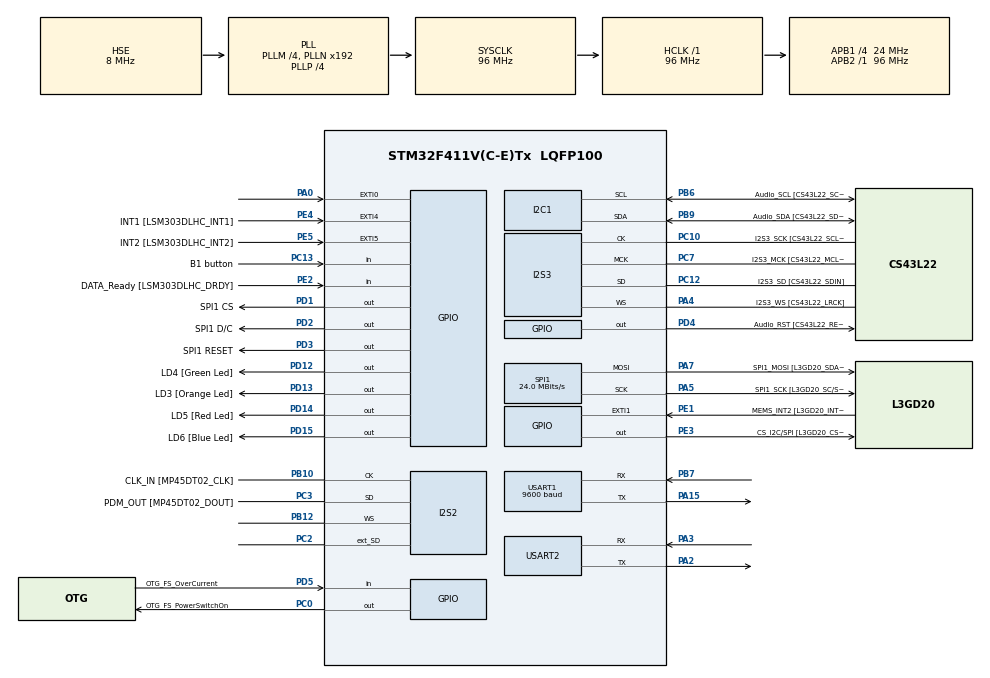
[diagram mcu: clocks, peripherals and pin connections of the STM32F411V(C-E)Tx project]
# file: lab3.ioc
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Dma.Request0=USART1_RX
Dma.Request1=USART2_RX
Dma.Request2=USART2_TX
Dma.Request3=SPI1_TX
Dma.SPI1_TX.3.Direction=DMA_MEMORY_TO_PERIPH
Dma.SPI1_TX.3.FIFOMode=DMA_FIFOMODE_DISABLE
Dma.SPI1_TX.3.Instance=DMA2_Stream3
Dma.SPI1_TX.3.MemDataAlignment=DMA_MDATAALIGN_BYTE
Dma.SPI1_TX.3.MemInc=DMA_MINC_ENABLE
Dma.SPI1_TX.3.Mode=DMA_NORMAL
Dma.SPI1_TX.3.PeriphDataAlignment=DMA_PDATAALIGN_BYTE
Dma.SPI1_TX.3.PeriphInc=DMA_PINC_DISABLE
Dma.SPI1_TX.3.Priority=DMA_PRIORITY_LOW
Dma.USART1_RX.0.Direction=DMA_PERIPH_TO_MEMORY
Dma.USART1_RX.0.FIFOMode=DMA_FIFOMODE_DISABLE
Dma.USART1_RX.0.Instance=DMA2_Stream5
Dma.USART1_RX.0.MemDataAlignment=DMA_MDATAALIGN_BYTE
Dma.USART1_RX.0.MemInc=DMA_MINC_ENABLE
Dma.USART1_RX.0.Mode=DMA_CIRCULAR
Dma.USART1_RX.0.PeriphDataAlignment=DMA_PDATAALIGN_BYTE
Dma.USART1_RX.0.PeriphInc=DMA_PINC_DISABLE
Dma.USART1_RX.0.Priority=DMA_PRIORITY_LOW
Dma.USART2_RX.1.Direction=DMA_PERIPH_TO_MEMORY
Dma.USART2_RX.1.FIFOMode=DMA_FIFOMODE_DISABLE
Dma.USART2_RX.1.Instance=DMA1_Stream5
Dma.USART2_RX.1.MemDataAlignment=DMA_MDATAALIGN_BYTE
Dma.USART2_RX.1.MemInc=DMA_MINC_ENABLE
Dma.USART2_RX.1.Mode=DMA_CIRCULAR
Dma.USART2_RX.1.PeriphDataAlignment=DMA_PDATAALIGN_BYTE
Dma.USART2_RX.1.PeriphInc=DMA_PINC_DISABLE
Dma.USART2_RX.1.Priority=DMA_PRIORITY_LOW
Dma.USART2_TX.2.Direction=DMA_MEMORY_TO_PERIPH
Dma.USART2_TX.2.FIFOMode=DMA_FIFOMODE_DISABLE
Dma.USART2_TX.2.Instance=DMA1_Stream6
Dma.USART2_TX.2.MemDataAlignment=DMA_MDATAALIGN_BYTE
Dma.USART2_TX.2.MemInc=DMA_MINC_ENABLE
Dma.USART2_TX.2.Mode=DMA_NORMAL
Dma.USART2_TX.2.PeriphDataAlignment=DMA_PDATAALIGN_BYTE
Dma.USART2_TX.2.PeriphInc=DMA_PINC_DISABLE
Dma.USART2_TX.2.Priority=DMA_PRIORITY_LOW
I2S2.AudioFreq=I2S_AUDIOFREQ_96K
I2S2.ErrorAudioFreq=0.15 %
I2S2.FullDuplexMode=I2S_FULLDUPLEXMODE_ENABLE
I2S2.Instance=SPI$Index
I2S2.RealAudioFreq=96.153 KHz
I2S2.VirtualMode=I2S_MODE_MASTER
I2S3.AudioFreq=I2S_AUDIOFREQ_96K
I2S3.ErrorAudioFreq=-6.99 %
I2S3.FullDuplexMode=I2S_FULLDUPLEXMODE_DISABLE
I2S3.Instance=SPI$Index
I2S3.RealAudioFreq=89.285 KHz
I2S3.VirtualMode=I2S_MODE_MASTER
Mcu.Family=STM32F4
Mcu.Name=STM32F411V(C-E)Tx
Mcu.Package=LQFP100
NVIC.DMA1_Stream5_IRQn=true\:0\:0\:false\:false\:true\:false\:true\:true
NVIC.DMA1_Stream6_IRQn=true\:0\:0\:false\:false\:true\:false\:true\:true
NVIC.DMA2_Stream3_IRQn=true\:0\:0\:false\:false\:true\:false\:true\:true
NVIC.DMA2_Stream5_IRQn=true\:0\:0\:false\:false\:true\:false\:true\:true
NVIC.PriorityGroup=NVIC_PRIORITYGROUP_0
NVIC.SPI1_IRQn=true\:0\:0\:false\:false\:true\:true\:true\:true
NVIC.USART1_IRQn=true\:0\:0\:false\:false\:true\:true\:true\:true
NVIC.USART2_IRQn=true\:0\:0\:false\:false\:true\:true\:true\:true
PA0-WKUP.GPIO_ModeDefaultEXTI=GPIO_MODE_EVT_RISING
PA0-WKUP.GPIO_PuPd=GPIO_NOPULL
PA0-WKUP.Signal=GPXTI0
PA13.GPIO_Label=SWDIO
PA13.Mode=Serial_Wire
PA13.Signal=SYS_JTMS-SWDIO
PA14.GPIO_Label=SWCLK
PA14.Mode=Serial_Wire
PA14.Signal=SYS_JTCK-SWCLK
PA15.Mode=Asynchronous
PA15.Signal=USART1_TX
PA2.Mode=Asynchronous
PA2.Signal=USART2_TX
PA3.Mode=Asynchronous
PA3.Signal=USART2_RX
PA4.GPIO_Label=I2S3_WS [CS43L22_LRCK]
PA4.GPIO_Mode=GPIO_MODE_AF_PP
PA4.GPIO_PuPd=GPIO_NOPULL
PA4.GPIO_Speed=GPIO_SPEED_FREQ_LOW
PA4.Mode=Half_Duplex_Master
PA4.Signal=I2S3_WS
PA5.GPIO_Label=SPI1_SCK [L3GD20_SC/SPC]
PA5.Mode=TX_Only_Simplex_Unidirect_Master
PA5.Signal=SPI1_SCK
PA6.GPIO_Label=SPI1_MISO [L3GD20_AS0/SDO]
PA6.Signal=SPI1_MISO
PA7.GPIO_Label=SPI1_MOSI [L3GD20_SDA/SDI/SDO]
PA7.Mode=TX_Only_Simplex_Unidirect_Master
PA7.Signal=SPI1_MOSI
PB10.GPIO_Label=CLK_IN [MP45DT02_CLK]
PB10.Mode=Full_Duplex_Master
PB10.Signal=I2S2_CK
PB12.Mode=Full_Duplex_Master
PB12.Signal=I2S2_WS
PB3.GPIO_Label=SWO
PB3.Signal=SYS_JTDO-SWO
PB6.GPIO_Label=Audio_SCL [CS43L22_SCL]
PB6.GPIO_Mode=GPIO_MODE_AF_OD
PB6.GPIO_Pu=GPIO_PULLUP
PB6.GPIO_PuPd=GPIO_NOPULL
PB6.GPIO_Speed=GPIO_SPEED_FREQ_LOW
PB6.Mode=I2C
PB6.Signal=I2C1_SCL
PB7.Mode=Asynchronous
PB7.Signal=USART1_RX
PB9.GPIO_Label=Audio_SDA [CS43L22_SDA]
PB9.GPIO_Mode=GPIO_MODE_AF_OD
PB9.GPIO_Pu=GPIO_PULLUP
PB9.GPIO_PuPd=GPIO_NOPULL
PB9.GPIO_Speed=GPIO_SPEED_FREQ_LOW
PB9.Mode=I2C
PB9.Signal=I2C1_SDA
PC0.GPIO_Label=OTG_FS_PowerSwitchOn
PC0.PinState=GPIO_PIN_SET
PC0.Signal=GPIO_Output
PC10.GPIO_Label=I2S3_SCK [CS43L22_SCLK]
PC10.GPIO_Mode=GPIO_MODE_AF_PP
PC10.GPIO_PuPd=GPIO_NOPULL
PC10.GPIO_Speed=GPIO_SPEED_FREQ_LOW
PC10.Mode=Half_Duplex_Master
PC10.Signal=I2S3_CK
PC12.GPIO_Label=I2S3_SD [CS43L22_SDIN]
PC12.GPIO_Mode=GPIO_MODE_AF_PP
PC12.GPIO_PuPd=GPIO_NOPULL
PC12.GPIO_Speed=GPIO_SPEED_FREQ_LOW
PC12.Mode=Half_Duplex_Master
PC12.Signal=I2S3_SD
PC13-ANTI_TAMP.GPIO_Label=B1 button
PC13-ANTI_TAMP.GPIO_PuPd=GPIO_PULLUP
PC13-ANTI_TAMP.Signal=GPIO_Input
PC14-OSC32_IN.GPIO_Label=PC14-OSC32_IN
PC14-OSC32_IN.Signal=RCC_OSC32_IN
PC15-OSC32_OUT.GPIO_Label=PC15-OSC32_OUT
PC15-OSC32_OUT.Signal=RCC_OSC32_OUT
PC2.Mode=Full_Duplex_Master
PC2.Signal=I2S2_ext_SD
PC3.GPIO_Label=PDM_OUT [MP45DT02_DOUT]
PC3.Mode=Full_Duplex_Master
PC3.Signal=I2S2_SD
PC7.GPIO_Label=I2S3_MCK [CS43L22_MCLK]
PC7.GPIO_Mode=GPIO_MODE_AF_PP
PC7.GPIO_PuPd=GPIO_NOPULL
PC7.GPIO_Speed=GPIO_SPEED_FREQ_LOW
PC7.Mode=Master_Clock_Activated
PC7.Signal=I2S3_MCK
PD1.GPIO_Label=SPI1 CS
PD1.Signal=GPIO_Output
PD12.GPIO_Label=LD4 [Green Led]
PD12.GPIO_PuPd=GPIO_NOPULL
PD12.GPIO_Speed=GPIO_SPEED_FREQ_LOW
PD12.Signal=GPIO_Output
PD13.GPIO_Label=LD3 [Orange Led]
PD13.GPIO_PuPd=GPIO_NOPULL
PD13.GPIO_Speed=GPIO_SPEED_FREQ_LOW
PD13.Signal=GPIO_Output
PD14.GPIO_Label=LD5 [Red Led]
PD14.GPIO_PuPd=GPIO_NOPULL
PD14.GPIO_Speed=GPIO_SPEED_FREQ_LOW
PD14.Signal=GPIO_Output
PD15.GPIO_Label=LD6 [Blue Led]
PD15.GPIO_PuPd=GPIO_NOPULL
PD15.GPIO_Speed=GPIO_SPEED_FREQ_LOW
PD15.Signal=GPIO_Output
PD2.GPIO_Label=SPI1 D/C
PD2.Signal=GPIO_Output
PD3.GPIO_Label=SPI1 RESET
PD3.Signal=GPIO_Output
PD4.GPIO_Label=Audio_RST [CS43L22_RESET]
PD4.Signal=GPIO_Output
PD5.GPIO_Label=OTG_FS_OverCurrent
PD5.Signal=GPIO_Input
PE1.GPIO_Label=MEMS_INT2 [L3GD20_INT2]
PE1.GPIO_ModeDefaultEXTI=GPIO_MODE_EVT_RISING
PE1.Signal=GPXTI1
PE2.GPIO_Label=DATA_Ready [LSM303DLHC_DRDY]
PE2.Signal=GPIO_Input
PE3.GPIO_Label=CS_I2C/SPI [L3GD20_CS_I2C/SPI]
PE3.Signal=GPIO_Output
PE4.GPIO_Label=INT1 [LSM303DLHC_INT1]
PE4.GPIO_ModeDefaultEXTI=GPIO_MODE_EVT_RISING
PE4.Signal=GPXTI4
PE5.GPIO_Label=INT2 [LSM303DLHC_INT2]
PE5.GPIO_ModeDefaultEXTI=GPIO_MODE_EVT_RISING
PE5.Signal=GPXTI5
PH0\ -\ OSC_IN.GPIO_Label=PH0-OSC_IN
PH0\ -\ OSC_IN.Mode=HSE-External-Oscillator
PH0\ -\ OSC_IN.Signal=RCC_OSC_IN
PH1\ -\ OSC_OUT.GPIO_Label=PH1-OSC_OUT
PH1\ -\ OSC_OUT.Mode=HSE-External-Oscillator
PH1\ -\ OSC_OUT.Signal=RCC_OSC_OUT
ProjectManager.HeapSize=0x200
ProjectManager.StackSize=0x800
ProjectManager.TargetToolchain=STM32CubeIDE
RCC.48MHZClocksFreq_Value=48000000
RCC.AHBFreq_Value=96000000
RCC.APB1CLKDivider=RCC_HCLK_DIV4
RCC.APB1Freq_Value=24000000
RCC.APB1TimFreq_Value=48000000
RCC.APB2Freq_Value=96000000
RCC.APB2TimFreq_Value=96000000
RCC.CortexFreq_Value=96000000
RCC.HCLKFreq_Value=96000000
RCC.HSE_VALUE=8000000
RCC.HSI_VALUE=16000000
RCC.LSE_VALUE=32768
RCC.PLLI2SM=5
RCC.PLLI2SN=200
RCC.PLLM=4
RCC.PLLP=RCC_PLLP_DIV4
RCC.PLLQ=8
RCC.PLLSourceVirtual=RCC_PLLSOURCE_HSE
RCC.SYSCLKFreq_VALUE=96000000
RCC.SYSCLKSource=RCC_SYSCLKSOURCE_PLLCLK
RCC.VCOOutputFreq_Value=384000000
SPI1.BaudRatePrescaler=SPI_BAUDRATEPRESCALER_4
SPI1.CalculateBaudRate=24.0 MBits/s
SPI1.Direction=SPI_DIRECTION_2LINES
SPI1.Mode=SPI_MODE_MASTER
SPI1.VirtualType=VM_MASTER
USART1.BaudRate=9600
USART1.VirtualMode=VM_ASYNC
USART2.VirtualMode=VM_ASYNC
board=STM32F411E-DISCO

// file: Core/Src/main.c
/* USER CODE BEGIN Header */
/**
  ******************************************************************************
  * @file           : main.c
  * @brief          : Main program body
  ******************************************************************************
  * @attention
  *
  * Copyright (c) 2025 STMicroelectronics.
  * All rights reserved.
  *
  * This software is licensed under terms that can be found in the LICENSE file
  * in the root directory of this software component.
  * If no LICENSE file comes with this software, it is provided AS-IS.
  *
  ******************************************************************************
  */
/* USER CODE END Header */
#include "main.h"

/* USER CODE BEGIN Includes */
#include "stm32f4xx_hal.h"
#include "string.h"
#include "parserqueue.h"
#include "ILI9341.h"
#include "BME280.h"
#include <stdint.h>
#include <stdlib.h>
#include <stdbool.h>
#include <stdio.h>
#include <time.h>

/* USER CODE END Includes */

I2C_HandleTypeDef hi2c1;

I2S_HandleTypeDef hi2s2;
I2S_HandleTypeDef hi2s3;

SPI_HandleTypeDef hspi1;
DMA_HandleTypeDef hdma_spi1_tx;

UART_HandleTypeDef huart1;
UART_HandleTypeDef huart2;
DMA_HandleTypeDef hdma_usart1_rx;
DMA_HandleTypeDef hdma_usart2_rx;
DMA_HandleTypeDef hdma_usart2_tx;

void SystemClock_Config(void);
void PeriphCommonClock_Config(void);
static void MX_GPIO_Init(void);
static void MX_DMA_Init(void);
static void MX_I2C1_Init(void);
static void MX_I2S2_Init(void);
static void MX_I2S3_Init(void);
static void MX_SPI1_Init(void);
static void MX_USART1_UART_Init(void);
static void MX_USART2_UART_Init(void);

/* USER CODE BEGIN 0 */

uint8_t gps_rx_buffer[512];
uint8_t pc_rx_buffer[128];

uint8_t parser_buffer_gps[512];
uint8_t parser_buffer_pc[128];
uint8_t stats_buffer[128];

volatile parser_queue PQ;
volatile parser_queue CQ;

volatile bool tx_busy = false;
uint8_t cli_buf1[512];
uint8_t cli_buf2[512];

uint8_t *buf_1 = cli_buf1;
uint8_t *buf_2 = cli_buf2;

volatile uint16_t len_buf_1 = 0;
volatile uint16_t len_buf_2 = 0;

// statistic variables
volatile bool send_stats = false;
volatile bool send_raw_data = false;

volatile int portions_count = 0;
volatile uint16_t bytes_count = 0;
volatile uint16_t last_postion_size = 0;

volatile uint32_t fe_count = 0;   // framing error
volatile uint32_t ne_count = 0;   // noise error
volatile uint32_t ore_count = 0;  // overrun error
volatile uint32_t pe_count = 0;   // parity error

// parsed values
struct tm utc = {0};
char * lat;
char * lot;
double res_lat;
double res_lot;
char latV;
char lotV;
char status;
int fix = 0;
int satellite_num = 0;

void HAL_UARTEx_RxEventCallback(UART_HandleTypeDef *huart, uint16_t Size) {

	if (huart->Instance == USART1) {
		// statistic calculations
		portions_count++;
		bytes_count += Size;
		last_postion_size = Size;

		if (__HAL_UART_GET_FLAG(&huart1, UART_FLAG_FE)) { fe_count++; __HAL_UART_CLEAR_FEFLAG(&huart1); }
		if (__HAL_UART_GET_FLAG(&huart1, UART_FLAG_NE)) { ne_count++; __HAL_UART_CLEAR_NEFLAG(&huart1); }
		if (__HAL_UART_GET_FLAG(&huart1, UART_FLAG_ORE)){ ore_count++; __HAL_UART_CLEAR_OREFLAG(&huart1); }
		if (__HAL_UART_GET_FLAG(&huart1, UART_FLAG_PE)) { pe_count++; __HAL_UART_CLEAR_PEFLAG(&huart1); }

		// copy to parser buffer
		memcpy(parser_buffer_gps, gps_rx_buffer, Size);
		enqueue(&PQ, parser_buffer_gps, Size);
	}

	else if (huart->Instance == USART2) {
		// copy to parser buffer
		memcpy(parser_buffer_pc, pc_rx_buffer, Size);
		enqueue(&CQ, parser_buffer_pc, Size);
	}
}

void HAL_UART_TxCpltCallback(UART_HandleTypeDef *huart) {
	tx_busy = false;

	if (len_buf_2 > 0) { // buf_1 here is pointing at buf_2
		tx_busy = true;

		// swap buffers
		uint8_t *tmp = buf_1;
		buf_1= buf_2;
		buf_2 = tmp;

		len_buf_1 = len_buf_2;
		len_buf_2 = 0;

		HAL_UART_Transmit_DMA(huart, buf_1, len_buf_1);
	}
}

void send_msg_uart(uint8_t * msg, uint16_t msg_len) {
	memcpy(buf_2, msg, msg_len);
	len_buf_2 = msg_len;

	if (!tx_busy) {
		tx_busy = true;

        uint8_t *tmp = buf_1;
		buf_1 = buf_2;
		buf_2 = tmp;

		len_buf_1 = len_buf_2;
		len_buf_2 = 0;

		HAL_UART_Transmit_DMA(&huart2, buf_1, len_buf_1);
	}
}

bool calculate_checksum(uint8_t *sentence) {
	const char *start = (sentence[0] == '$') ? (const char*)(sentence + 1) : (const char*)sentence;
	const char *star = strchr(start, '*');
	size_t len = (star) ? (size_t)(star - start) : strlen(start);

	int checksum;
	int ascii_values_g[85];
	sscanf(star + 1, "%2X", &checksum);
	ascii_values_g[0] = (int)sentence[1];

	for (int i = 1; i < len; i++) {
		ascii_values_g[i] = ascii_values_g[i-1] ^ (int)sentence[i+1];
	}

	return checksum == ascii_values_g[len - 1];
}

double calculate_degrees(const char *nmea, char direction, bool is_lat) {
    double raw = atof(nmea);
    int degrees;

    if (is_lat) {
		degrees = (int)(raw / 100);
	} else {
		degrees = (int)(raw / 100);
		if (degrees < 100) {
			degrees = (int)(raw / 1000);
		}
	}

    double minutes = raw - (degrees * 100);
    double decimal = degrees + minutes / 60.0;

    if (direction == 'S' || direction == 'W') {
        decimal *= -1;
    }

    return decimal;
}

uint8_t current_portion_gps[512];
uint8_t current_portion_pc[64];
uint8_t return_msg[128];

uint8_t line_gps[128];
uint8_t line_pc[32];
void NMEA_PC_parser() {
//	uint8_t current_portion_gps[512];
//	uint8_t current_portion_pc[128];

//	uint8_t line_gps[128];
//	uint8_t line_pc[64];
//	uint8_t return_msg[128];

	uint16_t start_gps = 0;
	uint16_t start_pc = 0;
	uint16_t current_size_gps = 0;
	uint16_t current_size_pc = 0;

	dequeue(&PQ, current_portion_gps, &current_size_gps);
	dequeue(&CQ, current_portion_pc, &current_size_pc);

	for (uint16_t i = 0; i + 1 <= current_size_gps; i++) {

	    if (current_portion_gps[i] == '\r' && current_portion_gps[i+1] == '\n') {

	        if (i > start_gps) {
	        	uint16_t len = i - start_gps;
	        	if (len >= sizeof(line_gps)) len = sizeof(line_gps) - 1;
	        	memcpy(line_gps, &current_portion_gps[start_gps], len);
	        	line_gps[len] = '\0';

	        	if (line_gps[0] == '$' && current_portion_gps[i+1] == '\n') {
	        		if (calculate_checksum(line_gps)) {
	        			char *token;

	        			if (strstr((char*)line_gps, "RMC") != NULL) {

							token = strtok((char*)line_gps, ",");
							int field_index = 0;

							while (token != NULL && field_index < 7) {

								switch (field_index) {
								    case 1:
								        double UTC = atof(token);
								        int hh = (int)(UTC / 10000);
										int mm = (int)((UTC - hh * 10000) / 100);
										int ss = (int)(UTC - hh * 10000 - mm * 100);

										utc.tm_year = 2025 - 1900;  // tm_year counts from 1900
										utc.tm_mon  = 9;    // tm_mon is 0-based
										utc.tm_mday = 27;
										utc.tm_hour = hh;
										utc.tm_min  = mm;
										utc.tm_sec  = ss;

								        break;

								    case 2:
								        status = token[0];
								        break;

								    case 3:
								        lat = token;
								        break;

								    case 4:
										latV = token[0];
										break;

								    case 5:
								        lot = token;
								        break;
								    case 6:
										lotV = token[0];
										break;

								    default:
								        break;
								}

								token = strtok(NULL, ",");
								field_index++;
							}
						}

						if (strstr((char*)line_gps, "GGA") != NULL) {

							token = strtok((char*)line_gps, ",");
							int field_index = 0;

							while (token != NULL && field_index < 8) {

								switch (field_index) {
									case 6:
										fix = atoi(token);
										break;

									case 7:
										satellite_num = atoi(token);
										break;

									default:
										break;
								}

								token = strtok(NULL, ",");
								field_index++;
							}
						}
					}
	        	}
			}
			start_gps = i + 2;
			i++;
		}
	}

	for (uint16_t i = start_pc; i + 1 <= current_size_pc; i++) {

		if (current_portion_pc[i] == '\r') {
			line_pc[0] = '\0';
			return_msg[0] = '\0';

			if (i > start_pc) {
				uint16_t len = i - start_pc;
				if (len >= sizeof(line_pc)) len = sizeof(line_pc) - 1;
				memcpy(line_pc, &current_portion_pc[start_pc], len);
				line_pc[len] = '\0';

				if (strstr((char*)line_pc, "GET POS") != NULL) {
					res_lat = calculate_degrees(lat, latV, true);
					res_lot = calculate_degrees(lot, lotV, false);
					const char *status = (fix == 0) ? "stale": "";

					time_t gps_ms = (utc.tm_hour*3600 + utc.tm_min*60 + utc.tm_sec);
					time_t now_ms = HAL_GetTick();
					double age_ms = (double)(now_ms - gps_ms);

					int len = snprintf((char *) return_msg, sizeof(return_msg),
							"\r\nGET POS\r\nPOS: lat: %.4f, lon: %.4f, fix: %d, sats: %d, age_ms: %.2f, %s\r\n",
							res_lat, res_lot, fix, satellite_num, age_ms, status);

					if (len > 0) {
						send_msg_uart((uint8_t*)return_msg, len);
					}
				}

				if (strstr((char*)line_pc, "GET TIME") != NULL) {
					struct tm local = utc;
					local.tm_hour += 3;
					mktime(&local);

					char formatted_time[32];
					strftime(formatted_time, sizeof(formatted_time), "%Y-%m-%dT%H:%M:%SZ", &local);
					int len = snprintf((char *)return_msg, sizeof(return_msg), "\r\nGET TIME\r\n%s\r\n", formatted_time);

					if (len > 0) {
						send_msg_uart((uint8_t*)return_msg, len);
					}
				}
				if (strstr((char*)line_pc, "RAW OFF") != NULL) {
					send_raw_data = false;
				}

				if (strstr((char*)line_pc, "RAW ON") != NULL) {
					send_raw_data = true;
				}

				if (strstr((char*)line_pc, "STATS ON") != NULL) {
					send_stats = true;
				}

				if (strstr((char*)line_pc, "STATS OFF") != NULL) {
					send_stats = false;
				}

				if (strstr((char*)line_pc, "VER") != NULL) {
				    struct tm local = utc;
				    local.tm_hour += 3;
				    mktime(&local); // normalize the time

				    char formatted_time[32];
				    strftime(formatted_time, sizeof(formatted_time), "%Y-%m-%dT%H:%M:%SZ", &local);

				    int len = snprintf(return_msg, sizeof(return_msg),
				                       "\r\nVER\r\n"
				                       "Firmware: %s\r\n"
				                       "Build: %s\r\n"
				                       "UART: %d baud, parity %s, oversampling %d\r\n",
				                       "1.0.0",         // firmware version
				                       formatted_time,  // build time
				                       115200,          // baud rate
				                       "8N1",           // parity/data bits/stop bits
				                       16);             // oversampling

				    if (len > 0) {
				        send_msg_uart((uint8_t*)return_msg, len);
				    }
				}

			}
//
			start_pc = i;
//			i++;
		}
	}
}

uint32_t get_device_id(void) {
    uint32_t *uid = (uint32_t*)UID_BASE;
    uint32_t id = uid[0] ^ uid[1] ^ uid[2];
    return id;
}

char buf[64];
/* USER CODE END 0 */

int main(void)
{

  /* MCU Configuration--------------------------------------------------------*/

  /* Reset of all peripherals, Initializes the Flash interface and the Systick. */
  HAL_Init();

  /* Configure the system clock */
  SystemClock_Config();

  /* Configure the peripherals common clocks */
  PeriphCommonClock_Config();

  /* Initialize all configured peripherals */
  MX_GPIO_Init();
  MX_DMA_Init();
  MX_I2C1_Init();
  MX_I2S2_Init();
  MX_I2S3_Init();
  MX_SPI1_Init();
  MX_USART1_UART_Init();
  MX_USART2_UART_Init();
  /* USER CODE BEGIN 2 */

  HAL_UARTEx_ReceiveToIdle_DMA(&huart1, gps_rx_buffer, sizeof(gps_rx_buffer));
  HAL_UARTEx_ReceiveToIdle_DMA(&huart2, pc_rx_buffer, sizeof(pc_rx_buffer));

  ILI9341_init(&hspi1);

  Screen ILI9341_Screen;
  Screen_Tiles_init(&ILI9341_Screen);

  /* USER CODE END 2 */

  /* Infinite loop */
  /* USER CODE BEGIN WHILE */
  ILI9341_fill_screen(&hspi1, &ILI9341_Screen, 0x0000);
  BME280_init(&hi2c1);

  uint8_t message[48];
  while (1)
  {
    /* USER CODE END WHILE */

    /* USER CODE BEGIN 3 */

	  int32_t raw_temp, raw_pres, raw_hum;
	  BME280_get_raw_data(&hi2c1, &raw_temp, &raw_pres, &raw_hum);
//	  int len = sprintf(message, "raw_temp is: %d raw_pres is: %d raw_hum is: %d\r\n", raw_temp, raw_pres, raw_hum);
//	  send_msg_uart(message, len);

	  float T = 0.0;
	  float P = 0.0;
	  float H = 0.0;
	  int32_t t_fine;
	  BME280_calculate_T(&hi2c1, &t_fine, raw_temp, &T);
	  BME280_calculate_P(&hi2c1, t_fine, raw_pres, &P);
	  BME280_calculate_H(&hi2c1, t_fine, raw_hum, &H);

//	  len = sprintf(message, "T is: %.2f  P is: %.2f RH is: %.2f%\r\n\n", T, P, H);
//	  send_msg_uart(message, len);

//	  // display output
//	  res_lat = 49.000;
//	  res_lot = 24.000;

	  NMEA_PC_parser();

	  int id = get_device_id();

	  struct tm local = utc;
	  local.tm_hour += 2;
	  time_t epoch = mktime(&local);

	  char formatted_time[32];
	  strftime(formatted_time, sizeof(formatted_time), "%Y-%m-%d %H:%M:%S", &local);

//	  snprintf(buf, sizeof(buf), "ID: 0x%d", id);
//	  ILI9341_draw_text(&hspi1, &ILI9341_Screen, 220, 10, buf, 0xFFFF); // 0xF800 -> red
//
//	  snprintf(buf, sizeof(buf), "LAT: %.4f", res_lat);
//	  ILI9341_draw_text(&hspi1, &ILI9341_Screen, 220, 30, buf, 0xFFFF);
//
//	  snprintf(buf, sizeof(buf), "LON: %.4f", res_lot);
//	  ILI9341_draw_text(&hspi1, &ILI9341_Screen, 220, 50, buf, 0xFFFF);
//
//	  snprintf(buf, sizeof(buf), "UTC: %s", formatted_time);
//	  ILI9341_draw_text(&hspi1, &ILI9341_Screen, 220, 70, buf, 0xFFFF);
//
//	  snprintf(buf, sizeof(buf), "T: %.1f\xB0 C", T);
//	  ILI9341_draw_text(&hspi1, &ILI9341_Screen, 220, 100, buf, 0xFFFF);
//
//	  snprintf(buf, sizeof(buf), "P: %.1f hPa", P);
//	  ILI9341_draw_text(&hspi1, &ILI9341_Screen, 220, 120, buf, 0xFFFF);
//
//	  snprintf(buf, sizeof(buf), "RH: %.1f %%", H);
//	  ILI9341_draw_text(&hspi1, &ILI9341_Screen, 220, 140, buf, 0xFFFF);

	  char screen_buf[256];
	  int len = snprintf(screen_buf, sizeof(screen_buf),
	      "ID: 0x%d nLAT: %.4f nLON: %.4f nUTC: %s nT: %.1f\xB0 C nP: %.1f hPa nRH: %.1f %%",
	      id, res_lat, res_lot, formatted_time, T, P, H);

	  ILI9341_draw_text(&hspi1, &ILI9341_Screen, 220, 10, screen_buf, 0xFFFF);

//	  local.tm_sec += 1;

	  HAL_Delay(1000);

//	  //color fill by tiles
//	  ILI9341_fill_screen(&hspi1, &ILI9341_Screen, 0x0000); // black
//	  HAL_Delay(1000);
//	  ILI9341_fill_screen(&hspi1, &ILI9341_Screen, 0x07E0); // blue
//	  HAL_Delay(1000);
//	  ILI9341_fill_screen(&hspi1, &ILI9341_Screen, 0x001F); // green
//	  HAL_Delay(1000);
//	  ILI9341_fill_screen(&hspi1, &ILI9341_Screen, 0xF800); // red
//	  HAL_Delay(1000);
////
//	  char * lat = "49.000";
//	  char * lot = "24.000";
//
//	  NMEA_PC_parser();
//
//	  int id = get_device_id();
//	  mktime(&local);
//
//	  char formatted_time[32];
//	  strftime(formatted_time, sizeof(formatted_time), "%Y-%m-%d %H:%M:%S", &local);
//
//	  snprintf(buf, sizeof(buf), "ID: 0x%d", id);
//	  ILI9341_draw_text(&hspi1, &ILI9341_Screen, 220, 10, buf,0xF800);
//
//	  snprintf(buf, sizeof(buf), "LAT: %s", lat);
//	  ILI9341_draw_text(&hspi1, &ILI9341_Screen, 220, 30, buf,0xF800);
//
//	  snprintf(buf, sizeof(buf), "LON: %s", lot);
//	  ILI9341_draw_text(&hspi1, &ILI9341_Screen, 220, 50, buf,0xF800);
//
//	  snprintf(buf, sizeof(buf), "UTC: %s", formatted_time);
//	  ILI9341_draw_text(&hspi1, &ILI9341_Screen, 220, 70, buf,0xF800);
//
//	  local.tm_sec += 1;
//

//
//	if (send_raw_data) {
//		send_msg_uart(gps_rx_buffer, strlen((char *)gps_rx_buffer));
//		HAL_Delay(500);
//	}
//
//    // to see statistics
//    if (send_stats) {
//    	int len = sprintf(stats_buffer, "\r\nportions_count: %d\r\nbytes_count: %d \r\nfe_count: %d \r\nne_count: %d \r\nore_count: %d \r\npe_count: %d \r\n", portions_count, bytes_count, fe_count, ne_count, ore_count, pe_count);
//    	send_msg_uart(stats_buffer, len);
//		HAL_Delay(500);
//    }

  }
  /* USER CODE END 3 */
}

void SystemClock_Config(void)
{
  RCC_OscInitTypeDef RCC_OscInitStruct = {0};
  RCC_ClkInitTypeDef RCC_ClkInitStruct = {0};

  /** Configure the main internal regulator output voltage
  */
  __HAL_RCC_PWR_CLK_ENABLE();
  __HAL_PWR_VOLTAGESCALING_CONFIG(PWR_REGULATOR_VOLTAGE_SCALE1);

  /** Initializes the RCC Oscillators according to the specified parameters
  * in the RCC_OscInitTypeDef structure.
  */
  RCC_OscInitStruct.OscillatorType = RCC_OSCILLATORTYPE_HSE;
  RCC_OscInitStruct.HSEState = RCC_HSE_ON;
  RCC_OscInitStruct.PLL.PLLState = RCC_PLL_ON;
  RCC_OscInitStruct.PLL.PLLSource = RCC_PLLSOURCE_HSE;
  RCC_OscInitStruct.PLL.PLLM = 4;
  RCC_OscInitStruct.PLL.PLLN = 192;
  RCC_OscInitStruct.PLL.PLLP = RCC_PLLP_DIV4;
  RCC_OscInitStruct.PLL.PLLQ = 8;
  if (HAL_RCC_OscConfig(&RCC_OscInitStruct) != HAL_OK)
  {
    Error_Handler();
  }

  /** Initializes the CPU, AHB and APB buses clocks
  */
  RCC_ClkInitStruct.ClockType = RCC_CLOCKTYPE_HCLK|RCC_CLOCKTYPE_SYSCLK
                              |RCC_CLOCKTYPE_PCLK1|RCC_CLOCKTYPE_PCLK2;
  RCC_ClkInitStruct.SYSCLKSource = RCC_SYSCLKSOURCE_PLLCLK;
  RCC_ClkInitStruct.AHBCLKDivider = RCC_SYSCLK_DIV1;
  RCC_ClkInitStruct.APB1CLKDivider = RCC_HCLK_DIV4;
  RCC_ClkInitStruct.APB2CLKDivider = RCC_HCLK_DIV1;

  if (HAL_RCC_ClockConfig(&RCC_ClkInitStruct, FLASH_LATENCY_3) != HAL_OK)
  {
    Error_Handler();
  }
}

void PeriphCommonClock_Config(void)
{
  RCC_PeriphCLKInitTypeDef PeriphClkInitStruct = {0};

  /** Initializes the peripherals clock
  */
  PeriphClkInitStruct.PeriphClockSelection = RCC_PERIPHCLK_I2S;
  PeriphClkInitStruct.PLLI2S.PLLI2SN = 200;
  PeriphClkInitStruct.PLLI2S.PLLI2SM = 5;
  PeriphClkInitStruct.PLLI2S.PLLI2SR = 2;
  if (HAL_RCCEx_PeriphCLKConfig(&PeriphClkInitStruct) != HAL_OK)
  {
    Error_Handler();
  }
}

static void MX_I2C1_Init(void)
{

  hi2c1.Instance = I2C1;
  hi2c1.Init.ClockSpeed = 100000;
  hi2c1.Init.DutyCycle = I2C_DUTYCYCLE_2;
  hi2c1.Init.OwnAddress1 = 0;
  hi2c1.Init.AddressingMode = I2C_ADDRESSINGMODE_7BIT;
  hi2c1.Init.DualAddressMode = I2C_DUALADDRESS_DISABLE;
  hi2c1.Init.OwnAddress2 = 0;
  hi2c1.Init.GeneralCallMode = I2C_GENERALCALL_DISABLE;
  hi2c1.Init.NoStretchMode = I2C_NOSTRETCH_DISABLE;
  if (HAL_I2C_Init(&hi2c1) != HAL_OK)
  {
    Error_Handler();
  }

}

static void MX_I2S2_Init(void)
{

  hi2s2.Instance = SPI2;
  hi2s2.Init.Mode = I2S_MODE_MASTER_TX;
  hi2s2.Init.Standard = I2S_STANDARD_PHILIPS;
  hi2s2.Init.DataFormat = I2S_DATAFORMAT_16B;
  hi2s2.Init.MCLKOutput = I2S_MCLKOUTPUT_DISABLE;
  hi2s2.Init.AudioFreq = I2S_AUDIOFREQ_96K;
  hi2s2.Init.CPOL = I2S_CPOL_LOW;
  hi2s2.Init.ClockSource = I2S_CLOCK_PLL;
  hi2s2.Init.FullDuplexMode = I2S_FULLDUPLEXMODE_ENABLE;
  if (HAL_I2S_Init(&hi2s2) != HAL_OK)
  {
    Error_Handler();
  }

}

static void MX_I2S3_Init(void)
{

  hi2s3.Instance = SPI3;
  hi2s3.Init.Mode = I2S_MODE_MASTER_TX;
  hi2s3.Init.Standard = I2S_STANDARD_PHILIPS;
  hi2s3.Init.DataFormat = I2S_DATAFORMAT_16B;
  hi2s3.Init.MCLKOutput = I2S_MCLKOUTPUT_ENABLE;
  hi2s3.Init.AudioFreq = I2S_AUDIOFREQ_96K;
  hi2s3.Init.CPOL = I2S_CPOL_LOW;
  hi2s3.Init.ClockSource = I2S_CLOCK_PLL;
  hi2s3.Init.FullDuplexMode = I2S_FULLDUPLEXMODE_DISABLE;
  if (HAL_I2S_Init(&hi2s3) != HAL_OK)
  {
    Error_Handler();
  }

}

static void MX_SPI1_Init(void)
{

  /* SPI1 parameter configuration*/
  hspi1.Instance = SPI1;
  hspi1.Init.Mode = SPI_MODE_MASTER;
  hspi1.Init.Direction = SPI_DIRECTION_2LINES;
  hspi1.Init.DataSize = SPI_DATASIZE_8BIT;
  hspi1.Init.CLKPolarity = SPI_POLARITY_LOW;
  hspi1.Init.CLKPhase = SPI_PHASE_1EDGE;
  hspi1.Init.NSS = SPI_NSS_SOFT;
  hspi1.Init.BaudRatePrescaler = SPI_BAUDRATEPRESCALER_4;
  hspi1.Init.FirstBit = SPI_FIRSTBIT_MSB;
  hspi1.Init.TIMode = SPI_TIMODE_DISABLE;
  hspi1.Init.CRCCalculation = SPI_CRCCALCULATION_DISABLE;
  hspi1.Init.CRCPolynomial = 10;
  if (HAL_SPI_Init(&hspi1) != HAL_OK)
  {
    Error_Handler();
  }

}

static void MX_USART1_UART_Init(void)
{

  huart1.Instance = USART1;
  huart1.Init.BaudRate = 9600;
  huart1.Init.WordLength = UART_WORDLENGTH_8B;
  huart1.Init.StopBits = UART_STOPBITS_1;
  huart1.Init.Parity = UART_PARITY_NONE;
  huart1.Init.Mode = UART_MODE_TX_RX;
  huart1.Init.HwFlowCtl = UART_HWCONTROL_NONE;
  huart1.Init.OverSampling = UART_OVERSAMPLING_16;
  if (HAL_UART_Init(&huart1) != HAL_OK)
  {
    Error_Handler();
  }

}

static void MX_USART2_UART_Init(void)
{

  huart2.Instance = USART2;
  huart2.Init.BaudRate = 115200;
  huart2.Init.WordLength = UART_WORDLENGTH_8B;
  huart2.Init.StopBits = UART_STOPBITS_1;
  huart2.Init.Parity = UART_PARITY_NONE;
  huart2.Init.Mode = UART_MODE_TX_RX;
  huart2.Init.HwFlowCtl = UART_HWCONTROL_NONE;
  huart2.Init.OverSampling = UART_OVERSAMPLING_16;
  if (HAL_UART_Init(&huart2) != HAL_OK)
  {
    Error_Handler();
  }

}

static void MX_DMA_Init(void)
{

  /* DMA controller clock enable */
  __HAL_RCC_DMA2_CLK_ENABLE();
  __HAL_RCC_DMA1_CLK_ENABLE();

  /* DMA interrupt init */
  /* DMA1_Stream5_IRQn interrupt configuration */
  HAL_NVIC_SetPriority(DMA1_Stream5_IRQn, 0, 0);
  HAL_NVIC_EnableIRQ(DMA1_Stream5_IRQn);
  /* DMA1_Stream6_IRQn interrupt configuration */
  HAL_NVIC_SetPriority(DMA1_Stream6_IRQn, 0, 0);
  HAL_NVIC_EnableIRQ(DMA1_Stream6_IRQn);
  /* DMA2_Stream2_IRQn interrupt configuration */
  HAL_NVIC_SetPriority(DMA2_Stream2_IRQn, 0, 0);
  HAL_NVIC_EnableIRQ(DMA2_Stream2_IRQn);
  /* DMA2_Stream3_IRQn interrupt configuration */
  HAL_NVIC_SetPriority(DMA2_Stream3_IRQn, 0, 0);
  HAL_NVIC_EnableIRQ(DMA2_Stream3_IRQn);

}

static void MX_GPIO_Init(void)
{
  GPIO_InitTypeDef GPIO_InitStruct = {0};

  /* GPIO Ports Clock Enable */
  __HAL_RCC_GPIOE_CLK_ENABLE();
  __HAL_RCC_GPIOC_CLK_ENABLE();
  __HAL_RCC_GPIOH_CLK_ENABLE();
  __HAL_RCC_GPIOA_CLK_ENABLE();
  __HAL_RCC_GPIOB_CLK_ENABLE();
  __HAL_RCC_GPIOD_CLK_ENABLE();

  /*Configure GPIO pin Output Level */
  HAL_GPIO_WritePin(CS_I2C_SPI_GPIO_Port, CS_I2C_SPI_Pin, GPIO_PIN_RESET);

  /*Configure GPIO pin Output Level */
  HAL_GPIO_WritePin(OTG_FS_PowerSwitchOn_GPIO_Port, OTG_FS_PowerSwitchOn_Pin, GPIO_PIN_SET);

  /*Configure GPIO pin Output Level */
  HAL_GPIO_WritePin(GPIOD, LD4_Pin|LD3_Pin|LD5_Pin|LD6_Pin
                          |SPI1_CS_Pin|SPI1_D_C_Pin|SPI1_RESET_Pin|Audio_RST_Pin, GPIO_PIN_RESET);

  /*Configure GPIO pin : DATA_Ready_Pin */
  GPIO_InitStruct.Pin = DATA_Ready_Pin;
  GPIO_InitStruct.Mode = GPIO_MODE_INPUT;
  GPIO_InitStruct.Pull = GPIO_NOPULL;
  HAL_GPIO_Init(DATA_Ready_GPIO_Port, &GPIO_InitStruct);

  /*Configure GPIO pin : CS_I2C_SPI_Pin */
  GPIO_InitStruct.Pin = CS_I2C_SPI_Pin;
  GPIO_InitStruct.Mode = GPIO_MODE_OUTPUT_PP;
  GPIO_InitStruct.Pull = GPIO_NOPULL;
  GPIO_InitStruct.Speed = GPIO_SPEED_FREQ_LOW;
  HAL_GPIO_Init(CS_I2C_SPI_GPIO_Port, &GPIO_InitStruct);

  /*Configure GPIO pins : INT1_Pin INT2_Pin MEMS_INT2_Pin */
  GPIO_InitStruct.Pin = INT1_Pin|INT2_Pin|MEMS_INT2_Pin;
  GPIO_InitStruct.Mode = GPIO_MODE_EVT_RISING;
  GPIO_InitStruct.Pull = GPIO_NOPULL;
  HAL_GPIO_Init(GPIOE, &GPIO_InitStruct);

  /*Configure GPIO pin : B1_button_Pin */
  GPIO_InitStruct.Pin = B1_button_Pin;
  GPIO_InitStruct.Mode = GPIO_MODE_INPUT;
  GPIO_InitStruct.Pull = GPIO_PULLUP;
  HAL_GPIO_Init(B1_button_GPIO_Port, &GPIO_InitStruct);

  /*Configure GPIO pin : OTG_FS_PowerSwitchOn_Pin */
  GPIO_InitStruct.Pin = OTG_FS_PowerSwitchOn_Pin;
  GPIO_InitStruct.Mode = GPIO_MODE_OUTPUT_PP;
  GPIO_InitStruct.Pull = GPIO_NOPULL;
  GPIO_InitStruct.Speed = GPIO_SPEED_FREQ_LOW;
  HAL_GPIO_Init(OTG_FS_PowerSwitchOn_GPIO_Port, &GPIO_InitStruct);

  /*Configure GPIO pin : PA0 */
  GPIO_InitStruct.Pin = GPIO_PIN_0;
  GPIO_InitStruct.Mode = GPIO_MODE_EVT_RISING;
  GPIO_InitStruct.Pull = GPIO_NOPULL;
  HAL_GPIO_Init(GPIOA, &GPIO_InitStruct);

  /*Configure GPIO pins : LD4_Pin LD3_Pin LD5_Pin LD6_Pin
                           SPI1_CS_Pin SPI1_D_C_Pin SPI1_RESET_Pin Audio_RST_Pin */
  GPIO_InitStruct.Pin = LD4_Pin|LD3_Pin|LD5_Pin|LD6_Pin
                          |SPI1_CS_Pin|SPI1_D_C_Pin|SPI1_RESET_Pin|Audio_RST_Pin;
  GPIO_InitStruct.Mode = GPIO_MODE_OUTPUT_PP;
  GPIO_InitStruct.Pull = GPIO_NOPULL;
  GPIO_InitStruct.Speed = GPIO_SPEED_FREQ_LOW;
  HAL_GPIO_Init(GPIOD, &GPIO_InitStruct);

  /*Configure GPIO pin : OTG_FS_OverCurrent_Pin */
  GPIO_InitStruct.Pin = OTG_FS_OverCurrent_Pin;
  GPIO_InitStruct.Mode = GPIO_MODE_INPUT;
  GPIO_InitStruct.Pull = GPIO_NOPULL;
  HAL_GPIO_Init(OTG_FS_OverCurrent_GPIO_Port, &GPIO_InitStruct);

}

void Error_Handler(void)
{
  __disable_irq();
  while (1)
  {
  }
}
